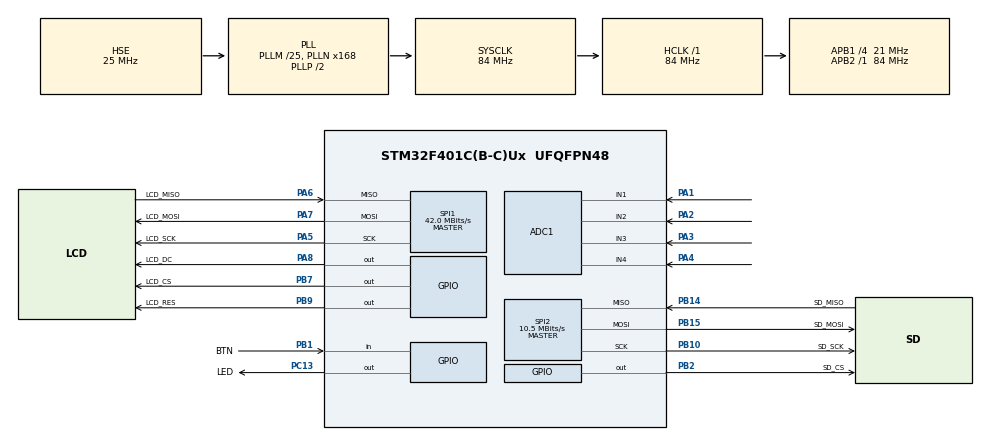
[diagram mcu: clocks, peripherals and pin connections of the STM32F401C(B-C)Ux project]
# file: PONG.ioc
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ADC1.Channel-0\#ChannelRegularConversion=ADC_CHANNEL_1
ADC1.Channel-1\#ChannelRegularConversion=ADC_CHANNEL_2
ADC1.Channel-2\#ChannelRegularConversion=ADC_CHANNEL_3
ADC1.Channel-4\#ChannelRegularConversion=ADC_CHANNEL_4
ADC1.ContinuousConvMode=DISABLE
ADC1.DMAContinuousRequests=DISABLE
ADC1.DiscontinuousConvMode=ENABLE
ADC1.InjNumberOfConversion=0
ADC1.NbrOfConversion=4
ADC1.NbrOfConversionFlag=1
ADC1.NbrOfDiscConversion=1
ADC1.Rank-0\#ChannelRegularConversion=1
ADC1.Rank-1\#ChannelRegularConversion=2
ADC1.Rank-2\#ChannelRegularConversion=3
ADC1.Rank-4\#ChannelRegularConversion=4
ADC1.SamplingTime-0\#ChannelRegularConversion=ADC_SAMPLETIME_3CYCLES
ADC1.SamplingTime-1\#ChannelRegularConversion=ADC_SAMPLETIME_3CYCLES
ADC1.SamplingTime-2\#ChannelRegularConversion=ADC_SAMPLETIME_3CYCLES
ADC1.SamplingTime-4\#ChannelRegularConversion=ADC_SAMPLETIME_3CYCLES
ADC1.ScanConvMode=ENABLE
ADC1.master=1
Mcu.Family=STM32F4
Mcu.Name=STM32F401C(B-C)Ux
Mcu.Package=UFQFPN48
NVIC.PriorityGroup=NVIC_PRIORITYGROUP_4
NVIC.TIM1_TRG_COM_TIM11_IRQn=true\:0\:0\:false\:false\:true\:true\:true\:true
NVIC.TIM1_UP_TIM10_IRQn=true\:0\:0\:true\:false\:true\:true\:true\:true
PA1.Signal=ADCx_IN1
PA2.Signal=ADCx_IN2
PA3.Signal=ADCx_IN3
PA4.Signal=ADCx_IN4
PA5.GPIO_Label=LCD_SCK
PA5.Mode=Full_Duplex_Master
PA5.Signal=SPI1_SCK
PA6.GPIO_Label=LCD_MISO
PA6.Mode=Full_Duplex_Master
PA6.Signal=SPI1_MISO
PA7.GPIO_Label=LCD_MOSI
PA7.Mode=Full_Duplex_Master
PA7.Signal=SPI1_MOSI
PA8.GPIO_Label=LCD_DC
PA8.Signal=GPIO_Output
PB1.GPIO_Label=BTN
PB1.GPIO_PuPd=GPIO_PULLUP
PB1.Signal=GPIO_Input
PB10.GPIO_Label=SD_SCK
PB10.Mode=Full_Duplex_Master
PB10.Signal=SPI2_SCK
PB14.GPIO_Label=SD_MISO
PB14.Mode=Full_Duplex_Master
PB14.Signal=SPI2_MISO
PB15.GPIO_Label=SD_MOSI
PB15.Mode=Full_Duplex_Master
PB15.Signal=SPI2_MOSI
PB2.GPIO_Label=SD_CS
PB2.Signal=GPIO_Output
PB7.GPIO_Label=LCD_CS
PB7.Signal=GPIO_Output
PB9.GPIO_Label=LCD_RES
PB9.Signal=GPIO_Output
PC13-ANTI_TAMP.GPIO_Label=LED
PC13-ANTI_TAMP.GPIO_ModeDefaultOutputPP=GPIO_MODE_OUTPUT_PP
PC13-ANTI_TAMP.GPIO_PuPd=GPIO_NOPULL
PC13-ANTI_TAMP.PinState=GPIO_PIN_SET
PC13-ANTI_TAMP.Signal=GPIO_Output
PC14-OSC32_IN.Mode=LSE-External-Oscillator
PC14-OSC32_IN.Signal=RCC_OSC32_IN
PC15-OSC32_OUT.Mode=LSE-External-Oscillator
PC15-OSC32_OUT.Signal=RCC_OSC32_OUT
PH0\ -\ OSC_IN.Mode=HSE-External-Oscillator
PH0\ -\ OSC_IN.Signal=RCC_OSC_IN
PH1\ -\ OSC_OUT.Mode=HSE-External-Oscillator
PH1\ -\ OSC_OUT.Signal=RCC_OSC_OUT
ProjectManager.HeapSize=0x200
ProjectManager.StackSize=0x400
ProjectManager.TargetToolchain=STM32CubeIDE
RCC.48MHZClocksFreq_Value=42000000
RCC.AHBFreq_Value=84000000
RCC.APB1CLKDivider=RCC_HCLK_DIV4
RCC.APB1Freq_Value=21000000
RCC.APB1TimFreq_Value=42000000
RCC.APB2Freq_Value=84000000
RCC.APB2TimFreq_Value=84000000
RCC.CortexFreq_Value=84000000
RCC.HCLKFreq_Value=84000000
RCC.HSE_VALUE=25000000
RCC.HSI_VALUE=16000000
RCC.PLLM=25
RCC.PLLN=168
RCC.PLLSourceVirtual=RCC_PLLSOURCE_HSE
RCC.SYSCLKFreq_VALUE=84000000
RCC.SYSCLKSource=RCC_SYSCLKSOURCE_PLLCLK
RCC.VCOOutputFreq_Value=168000000
SH.ADCx_IN1.0=ADC1_IN1,IN1
SH.ADCx_IN2.0=ADC1_IN2,IN2
SH.ADCx_IN3.0=ADC1_IN3,IN3
SH.ADCx_IN4.0=ADC1_IN4,IN4
SPI1.BaudRatePrescaler=SPI_BAUDRATEPRESCALER_2
SPI1.CalculateBaudRate=42.0 MBits/s
SPI1.Direction=SPI_DIRECTION_2LINES
SPI1.Mode=SPI_MODE_MASTER
SPI1.VirtualType=VM_MASTER
SPI2.BaudRatePrescaler=SPI_BAUDRATEPRESCALER_2
SPI2.CalculateBaudRate=10.5 MBits/s
SPI2.Direction=SPI_DIRECTION_2LINES
SPI2.Mode=SPI_MODE_MASTER
SPI2.VirtualType=VM_MASTER
TIM10.Period=200-1
TIM10.Prescaler=5000-1
TIM11.AutoReloadPreload=TIM_AUTORELOAD_PRELOAD_DISABLE
TIM11.Period=1000-1
TIM11.Prescaler=8400-1
VP_FATFS_VS_Generic.Mode=User_defined
VP_TIM10_VS_ClockSourceINT.Mode=Enable_Timer
VP_TIM11_VS_ClockSourceINT.Mode=Enable_Timer
board=custom

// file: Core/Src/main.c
/* USER CODE BEGIN Header */
/**
  ******************************************************************************

  * @file           : main.c

  * @brief          : Main program body

  ******************************************************************************
	Autorzy: Patryk Zemła, Karol Michalski

	Gra Pong wykorzystująca joysticki analogowe

  	Funkcje:
  	doGameTick() - wykonuje ruch piłki
  	restartGame() - restartuje/inicjalizuje grę
  	movePlayersPaddles() - sprawdza wychylenie joysticków i na tej podstawie przesuwa paletki
  	gameOver() - zatrzymuje timer sterujący piłką i paletkami oraz wyświetla ekran końca gry

  ******************************************************************************
  */

/* USER CODE END Header */
#include "main.h"
#include "adc.h"
#include "fatfs.h"
#include "spi.h"
#include "tim.h"
#include "gpio.h"

/* USER CODE BEGIN Includes */

#include "stdlib.h"
#include "math.h"
#include "limits.h"

#ifndef DEFINITIONS_H_
#define DEFINITIONS_H_
#include "definitions.h"
#endif

#include "display.h"
#include "game.h"
#include "sd.h"
/* USER CODE END Includes */

/* USER CODE BEGIN PV */
int flaga=0;
player p1;
player p2;
ball b;
/* USER CODE END PV */

void SystemClock_Config(void);
/* USER CODE BEGIN PFP */

void HAL_TIM_PeriodElapsedCallback(TIM_HandleTypeDef *htim);

/* USER CODE END PFP */

int main(void)
{

  /* MCU Configuration--------------------------------------------------------*/

  /* Reset of all peripherals, Initializes the Flash interface and the Systick. */
  HAL_Init();

  /* Configure the system clock */
  SystemClock_Config();

  /* Initialize all configured peripherals */
  MX_GPIO_Init();
  MX_SPI1_Init();
  MX_TIM10_Init();
  MX_SPI2_Init();
  MX_FATFS_Init();
  MX_ADC1_Init();
  MX_TIM11_Init();
  /* USER CODE BEGIN 2 */
  ST7735_Init();
  HAL_TIM_Base_Start_IT(&htim11);
  restartGame(&b, &p1, &p2);
  HAL_Delay(500);

  /* USER CODE END 2 */

  /* Infinite loop */
  /* USER CODE BEGIN WHILE */

  while (1)
  {
	 if((b.y>160 || b.y<0) && flaga==0){
		gameOver(&b);
		flaga=1;
	 }

	 if(flaga==1 && HAL_GPIO_ReadPin(BTN_GPIO_Port, BTN_Pin) == GPIO_PIN_RESET){
		restartGame(&b, &p1, &p2);
		flaga=0;
	 }
    /* USER CODE END WHILE */

  }
}

void SystemClock_Config(void)
{
  RCC_OscInitTypeDef RCC_OscInitStruct = {0};
  RCC_ClkInitTypeDef RCC_ClkInitStruct = {0};

  /** Configure the main internal regulator output voltage
  */
  __HAL_RCC_PWR_CLK_ENABLE();
  __HAL_PWR_VOLTAGESCALING_CONFIG(PWR_REGULATOR_VOLTAGE_SCALE2);

  /** Initializes the RCC Oscillators according to the specified parameters
  * in the RCC_OscInitTypeDef structure.
  */
  RCC_OscInitStruct.OscillatorType = RCC_OSCILLATORTYPE_HSE;
  RCC_OscInitStruct.HSEState = RCC_HSE_ON;
  RCC_OscInitStruct.PLL.PLLState = RCC_PLL_ON;
  RCC_OscInitStruct.PLL.PLLSource = RCC_PLLSOURCE_HSE;
  RCC_OscInitStruct.PLL.PLLM = 25;
  RCC_OscInitStruct.PLL.PLLN = 168;
  RCC_OscInitStruct.PLL.PLLP = RCC_PLLP_DIV2;
  RCC_OscInitStruct.PLL.PLLQ = 4;
  if (HAL_RCC_OscConfig(&RCC_OscInitStruct) != HAL_OK)
  {
    Error_Handler();
  }

  /** Initializes the CPU, AHB and APB buses clocks
  */
  RCC_ClkInitStruct.ClockType = RCC_CLOCKTYPE_HCLK|RCC_CLOCKTYPE_SYSCLK
                              |RCC_CLOCKTYPE_PCLK1|RCC_CLOCKTYPE_PCLK2;
  RCC_ClkInitStruct.SYSCLKSource = RCC_SYSCLKSOURCE_PLLCLK;
  RCC_ClkInitStruct.AHBCLKDivider = RCC_SYSCLK_DIV1;
  RCC_ClkInitStruct.APB1CLKDivider = RCC_HCLK_DIV4;
  RCC_ClkInitStruct.APB2CLKDivider = RCC_HCLK_DIV1;

  if (HAL_RCC_ClockConfig(&RCC_ClkInitStruct, FLASH_LATENCY_2) != HAL_OK)
  {
    Error_Handler();
  }
}

/* USER CODE BEGIN 4 */
void HAL_TIM_PeriodElapsedCallback(TIM_HandleTypeDef *htim){

	if(htim->Instance == TIM11 && flaga==0){
		movePlayersPaddles(&p1, &p2);
	}

	if(htim->Instance== TIM10){
		doGameTick(&b, &p1, &p2);
	}
}
/* USER CODE END 4 */

void Error_Handler(void)
{
  __disable_irq();
  while (1)
  {
  }
}
